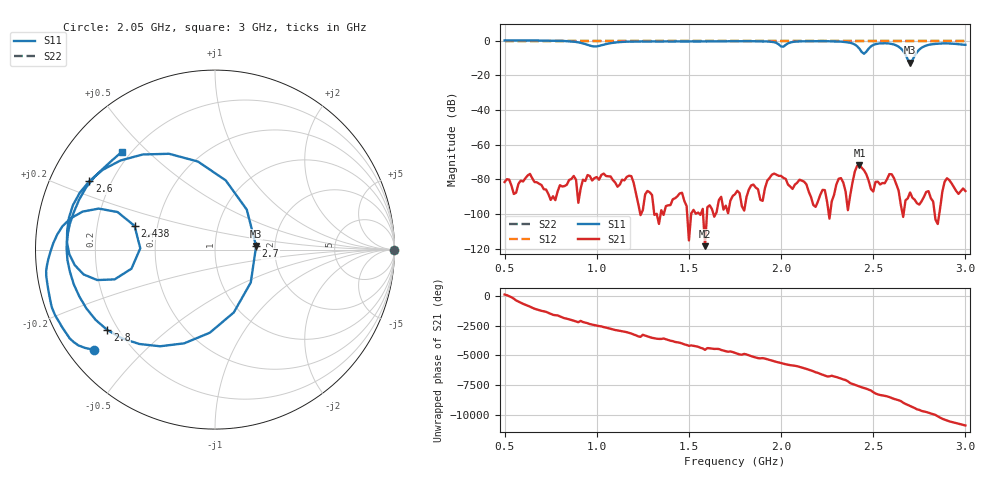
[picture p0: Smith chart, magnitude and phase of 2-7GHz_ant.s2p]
! Anritsu VNA Master:  Model: MS2024B
! SN:  2417009
! /card0/usr/2-7GHz_ant.s2p
! Existing Calibration Information:
! TYPE:  Current Settings,  Active Cal Settings
! TIME:  09/03/2026 11:30:16 PM,  09/03/2026 11:23:33 PM
! INTERNAL TEMP:  49.8 C,  50.0 C
! # POINTS:  201,  201
! START FREQ:  500.000 MHz,  500.000 MHz
! STOP FREQ:  3.000 GHz,  3.000 GHz
! SOURCE POWER:  Default,  Default
! IFBW:  1 kHz,  1 kHz
! AVG FACTOR:  1 ,  16
! REF PLANE 1:  0 mm,  0 mm
! REF PLANE 2:  0 mm,  0 mm
! CAL TYPE:  Full S11,  Full S11
! CAL METHOD:  SOLT,  SOLT
! CAL LINE TYPE:  Coax,  Coax
! DUT PORT 1:  N-Conn(M),  N-Conn(M)
! DUT PORT 2:  N-Conn(M),  N-Conn(M)
! CAL STATUS:  OK: Accuracy High,  --
# GHZ S MA R 50.0
! FREQ.GHZ  S11M  S11A  S21M  S21A  S12M  S12A  S22M  S22A
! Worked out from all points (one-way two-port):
!   201 points, 500 MHz to 3 GHz, reference 50 ohm
!   highest |S21| = -71.74 dB at 2.425 GHz (marker M1); lowest = -118.4 dB at 1.587 GHz (marker M2)
!   lowest |S11| = -12.8 dB at 2.7 GHz (marker M3), VSWR 1.60, Z = 79.6 + j3.37 ohm
!   |S11| at or under -10 dB: 2.683 GHz to 2.719 GHz (35.65 MHz wide, 1.32 % of centre)
!   |S22| runs from 0.0 to 0.0 dB; largest |S21 - S12| = 1
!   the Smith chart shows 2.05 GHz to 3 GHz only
!   S11 on the Smith chart (normalised r, x): 2.05 GHz: 0.07, -0.36; 2.438 GHz: 0.37, +0.13; 2.6 GHz: 0.12, +0.25; 2.7 GHz: 1.59, +0.07; 2.8 GHz: 0.16, -0.32; 3 GHz: 0.17, +0.42
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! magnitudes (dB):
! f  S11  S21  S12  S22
! 500 MHz  0.0  -81.5  0.0  0.0
! 637.5 MHz  0.0  -76.8  0.0  0.0
! 662.5 MHz  0.0  -81.5  0.0  0.0
! 925 MHz  -1.7  -80.1  0.0  0.0
! 1.038 GHz  -2.4  -76.6  0.0  0.0
! 1.087 GHz  -1.3  -80.4  0.0  0.0
! 1.337 GHz  -0.5  -105.6  0.0  0.0
! 1.587 GHz  -0.5  -118.4  0.0  0.0
! 1.75 GHz  -0.4  -88.5  0.0  0.0
! 1.962 GHz  -1.0  -76.6  0.0  0.0
! 2.05 GHz  -1.1  -84.1  0.0  0.0
! 2.175 GHz  -0.3  -94.8  0.0  0.0
! 2.388 GHz  -1.7  -81.7  0.0  0.0
! 2.425 GHz  -4.7  -71.7  0.0  0.0
! 2.438 GHz  -6.6  -73.2  0.0  0.0
! 2.475 GHz  -4.7  -80.7  0.0  0.0
! 2.587 GHz  -1.8  -76.9  0.0  0.0
! 2.6 GHz  -2.0  -77.0  0.0  0.0
! 2.65 GHz  -4.6  -94.8  0.0  0.0
! 2.7 GHz  -12.8  -87.5  0.0  0.0
! 2.8 GHz  -2.5  -86.7  0.0  0.0
! 3 GHz  -2.5  -86.6  0.0  0.0
